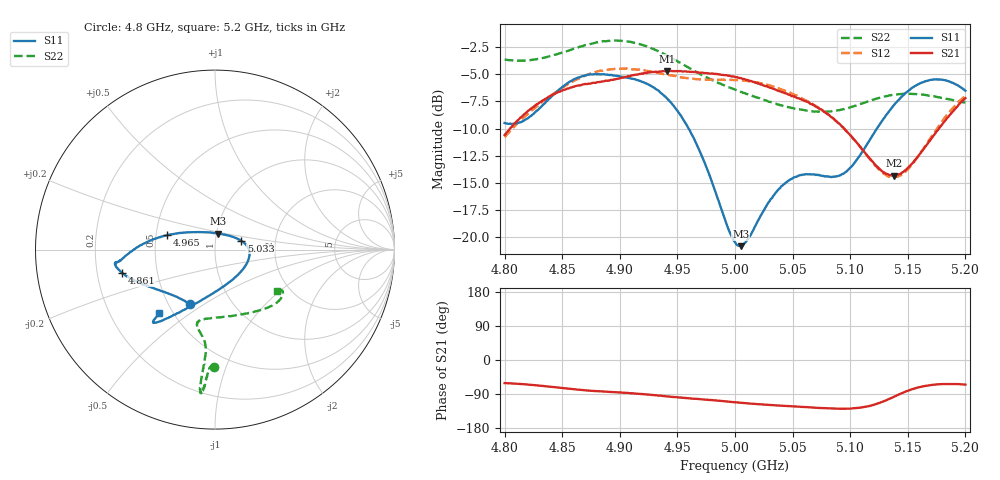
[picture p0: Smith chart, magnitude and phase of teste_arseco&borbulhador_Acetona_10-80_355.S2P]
! Network Analyzer HP8722D
! Hewlett-Packard
! Data name: Linha & Wilkinson
! Saver's name: Rodrigo Anjos
! Comments: Teste da utilização de aquisição
! continua pelo VNA HP8722D
! Time and date: 17/4/2025 17:19
!  Frequency  S11  S21  S12  S22
# HZ  S  MA R 50
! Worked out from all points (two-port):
!   401 points, 4.8 GHz to 5.2 GHz, reference 50 ohm
!   highest |S21| = -4.70 dB at 4.941 GHz (marker M1); lowest = -14.3 dB at 5.138 GHz (marker M2)
!   |S21| within 3 dB of the highest: 4.829 GHz to 5.065 GHz (235.7 MHz wide, 4.77 % of centre); 5.195127 GHz to end of sweep
!   lowest |S11| = -20.8 dB at 5.005 GHz (marker M3), VSWR 1.20, Z = 50.8 + j9.17 ohm
!   |S11| at or under -10 dB: 4.96 GHz to 5.123 GHz (163.5 MHz wide, 3.24 % of centre)
!   |S22| runs from -8.5 to -1.9 dB; largest |S21 - S12| = 0.87
!   S11 on the Smith chart (normalised r, x): 4.8 GHz: 0.64, -0.44; 4.861 GHz: 0.31, -0.11; 4.965 GHz: 0.57, +0.10; 5.033 GHz: 1.33, +0.14; 5.2 GHz: 0.42, -0.39
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4.8e9  0.3353 -114.2  0.295 -61.0  0.2888 -175.3  0.6563 -90.3
4.819e9  0.35 -134.1  0.3751 -64.6  0.3643 -174.1  0.6508 -91.9
4.861e9  0.5348 -166.1  0.4947 -77.2  0.5266 -177.3  0.7388 -94.2
4.867e9  0.5498 -168.4  0.5023 -79.1  0.5456 -178.4  0.7557 -94.2
4.899e9  0.5504 -172.8  0.5362 -85.6  0.5962 175.0  0.802 -95.7
4.934e9  0.4709 -178.4  0.5778 -94.0  0.5695 171.5  0.7141 -96.1
4.941e9  0.4352 178.4  0.582 -95.9  0.5592 171.5  0.6855 -95.7
4.965e9  0.2797 163.3  0.5757 -102.4  0.5342 173.4  0.5813 -95.2
5e9  0.09505 98.8  0.5463 -111.6  0.5291 175.7  0.4783 -99.2
5.005e9  0.09092 80.1  0.5398 -112.8  0.5263 175.7  0.466 -100.3
5.012e9  0.09961 56.8  0.5255 -114.8  0.522 175.5  0.4531 -101.8
5.033e9  0.1544 18.7  0.4827 -119.1  0.494 174.5  0.4154 -103.5
5.049e9  0.1852 2.5  0.4455 -122.1  0.4586 173.9  0.3934 -99.5
5.067e9  0.1944 -16.7  0.4085 -125.3  0.412 173.4  0.3796 -90.1
5.096e9  0.1995 -67.5  0.3105 -128.5  0.311 174.5  0.3908 -67.6
5.123e9  0.3148 -108.9  0.2119 -115.8  0.2108 -170.2  0.4347 -48.5
5.134e9  0.381 -117.6  0.1931 -102.5  0.1896 -155.4  0.4492 -43.0
5.138e9  0.4056 -119.9  0.192 -96.9  0.1883 -149.0  0.452 -41.2
5.15e9  0.4695 -125.1  0.2082 -81.3  0.2048 -131.0  0.4572 -36.8
5.17e9  0.5296 -129.6  0.2813 -66.1  0.2874 -112.3  0.4473 -32.2
5.184e9  0.5243 -130.8  0.353 -63.2  0.3653 -107.5  0.433 -31.2
5.2e9  0.4716 -131.0  0.4366 -64.9  0.448 -106.9  0.4158 -33.6
